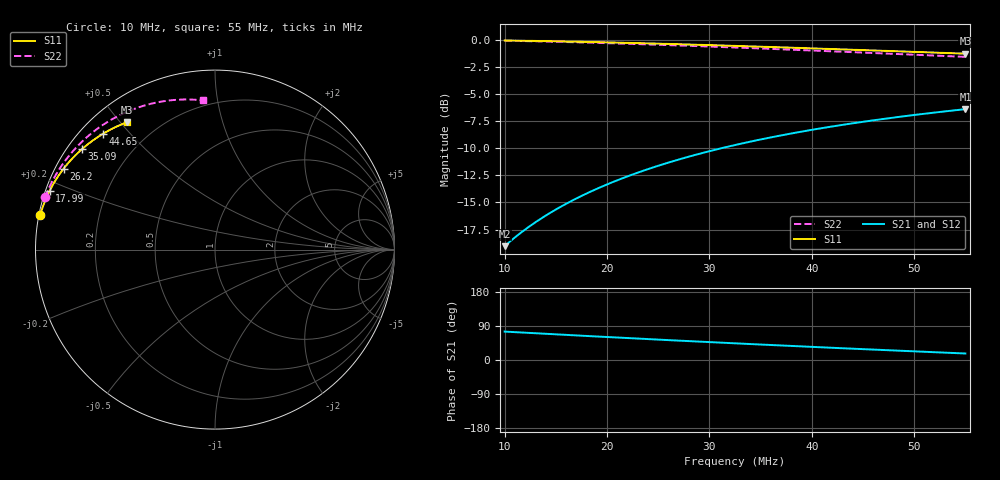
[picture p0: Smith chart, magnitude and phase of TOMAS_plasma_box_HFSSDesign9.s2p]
! Touchstone file exported from HFSS 2022.2.0
!  File:  /home/arthur/Ansoft/PersonalLib/TOMAS_plasma_box.aedt
!  Generated:  1:41:48 PM  Jan 16, 2024
!  Design:  HFSSDesign9
!  Project:  TOMAS_plasma_box
!  Setup:  Setup1
!  Solution:  Sweep
! Variables:
!  offset = 1.25cm
!  r_diel = 210mm
# GHz S MA R 50.000000
! Terminal data exported
! Port[1] = 1
! Port[2] = 2
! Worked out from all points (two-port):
!   401 points, 10 MHz to 55 MHz, reference 50 ohm
!   highest |S21| = -6.40 dB at 55 MHz (marker M1); lowest = -19.0 dB at 10 MHz (marker M2)
!   |S21| within 3 dB of the highest: 33.96 MHz to end of sweep
!   lowest |S11| = -1.3 dB at 55 MHz (marker M3), VSWR 13.57, Z = 4.69 + j26 ohm
!   |S11| at or under -10 dB: nowhere
!   |S22| runs from -1.6 to -0.1 dB; largest |S21 - S12| = 2e-06
!   S11 on the Smith chart (normalised r, x): 10 MHz: 0.00, +0.10; 17.99 MHz: 0.01, +0.17; 26.2 MHz: 0.02, +0.25; 35.09 MHz: 0.04, +0.33; 44.65 MHz: 0.06, +0.42; 55 MHz: 0.09, +0.52
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0.01  0.9926 169.0  0.1119 75.0  0.1119 75.0  0.9902 162.8
! Gamma 0 0.209584502215337 0 0.209584502201685
! Port Impedance 50 0 50 0
0.010225  0.9923 168.7  0.1143 74.6  0.1143 74.6  0.9898 162.4
0.0119125  0.9897 166.9  0.1325 72.2  0.1325 72.2  0.9864 159.6
0.0136  0.9867 165.0  0.1504 69.7  0.1504 69.7  0.9826 156.8
0.0155125  0.983 163.0  0.1703 67.0  0.1703 67.0  0.9778 153.6
0.0175375  0.9787 160.8  0.1909 64.1  0.1909 64.1  0.9722 150.2
0.0179875  0.9776 160.4  0.1955 63.5  0.1955 63.5  0.9709 149.5
0.019675  0.9737 158.6  0.2122 61.1  0.2122 61.1  0.9659 146.7
0.0213625  0.9695 156.8  0.2286 58.8  0.2286 58.8  0.9606 144.0
0.0231625  0.9647 154.9  0.2456 56.3  0.2456 56.3  0.9547 141.1
0.025075  0.9595 153.0  0.2633 53.7  0.2633 53.7  0.9482 138.1
0.0262  0.9563 151.8  0.2734 52.2  0.2734 52.2  0.9443 136.3
0.02935  0.947 148.7  0.301 48.0  0.301 48.0  0.933 131.4
0.0325  0.9373 145.5  0.3272 44.0  0.3272 44.0  0.9213 126.6
0.0350875  0.929 143.0  0.3478 40.7  0.3478 40.7  0.9114 122.7
0.0375625  0.921 140.6  0.3667 37.6  0.3667 37.6  0.9018 119.0
0.0400375  0.9128 138.3  0.3847 34.6  0.3847 34.6  0.8922 115.4
0.0422875  0.9053 136.2  0.4005 31.9  0.4005 31.9  0.8834 112.2
0.04465  0.8974 134.0  0.4164 29.0  0.4164 29.0  0.8742 108.8
0.047575  0.8876 131.3  0.4352 25.6  0.4352 25.6  0.8627 104.8
0.051175  0.8755 128.1  0.4571 21.5  0.4571 21.5  0.8488 99.8
0.055  0.8627 124.7  0.4788 17.2  0.4788 17.2  0.8341 94.7
